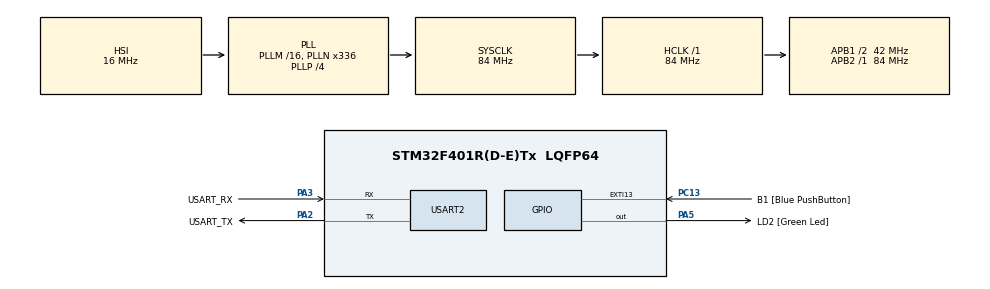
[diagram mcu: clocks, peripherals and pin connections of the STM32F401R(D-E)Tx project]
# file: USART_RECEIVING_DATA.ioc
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Mcu.Family=STM32F4
PC15-OSC32_OUT.Mode=LSE-External-Oscillator
PA2.GPIO_PuPd=GPIO_NOPULL
RCC.CortexFreq_Value=84000000
PC13-ANTI_TAMP.GPIO_PuPd=GPIO_NOPULL
PC13-ANTI_TAMP.GPIO_Label=B1 [Blue PushButton]
PA14.GPIO_Label=TCK
PA3.GPIO_PuPd=GPIO_NOPULL
PH1\ -\ OSC_OUT.Mode=HSE-External-Oscillator
PA2.GPIO_Speed=GPIO_SPEED_FREQ_LOW
RCC.APB1CLKDivider=RCC_HCLK_DIV2
PC14-OSC32_IN.Signal=RCC_OSC32_IN
PA3.GPIO_Speed=GPIO_SPEED_FREQ_LOW
RCC.SYSCLKSource=RCC_SYSCLKSOURCE_PLLCLK
ProjectManager.StackSize=0x400
PA13.Signal=SYS_JTMS-SWDIO
PA3.Mode=Asynchronous
PH0\ -\ OSC_IN.Mode=HSE-External-Oscillator
PH0\ -\ OSC_IN.Signal=RCC_OSC_IN
ProjectManager.TargetToolchain=SW4STM32
PA3.GPIO_Mode=GPIO_MODE_AF_PP
RCC.HCLKFreq_Value=84000000
RCC.APB2TimFreq_Value=84000000
PC15-OSC32_OUT.Signal=RCC_OSC32_OUT
RCC.AHBFreq_Value=84000000
PA5.Signal=GPIO_Output
RCC.HSE_VALUE=8000000
PH1\ -\ OSC_OUT.Signal=RCC_OSC_OUT
board=NUCLEO-F401RE
PC13-ANTI_TAMP.Signal=GPXTI13
RCC.VCOOutputFreq_Value=336000000
RCC.APB2Freq_Value=84000000
PC14-OSC32_IN.Mode=LSE-External-Oscillator
PA14.Mode=Serial_Wire
PA5.GPIO_PuPd=GPIO_NOPULL
PA13.Mode=Serial_Wire
Mcu.Name=STM32F401R(D-E)Tx
PA2.Signal=USART2_TX
PA13.GPIO_Label=TMS
RCC.48MHZClocksFreq_Value=48000000
PB3.Signal=SYS_JTDO-SWO
RCC.SYSCLKFreq_VALUE=84000000
Mcu.Package=LQFP64
PA5.GPIO_Label=LD2 [Green Led]
USART2.VirtualMode=VM_ASYNC
PC13-ANTI_TAMP.GPIO_ModeDefaultEXTI=GPIO_MODE_IT_FALLING
PA2.GPIO_Label=USART_TX
PA14.Signal=SYS_JTCK-SWCLK
ProjectManager.HeapSize=0x200
RCC.HSI_VALUE=16000000
RCC.PLLP=RCC_PLLP_DIV4
PA5.GPIO_Speed=GPIO_SPEED_FREQ_LOW
RCC.PLLQ=7
NVIC.PriorityGroup=NVIC_PRIORITYGROUP_0
RCC.PLLN=336
RCC.APB1TimFreq_Value=84000000
PA2.Mode=Asynchronous
RCC.APB1Freq_Value=42000000
PA5.GPIO_Mode=GPIO_MODE_OUTPUT_PP
PA3.GPIO_Label=USART_RX
PA3.Signal=USART2_RX
PA2.GPIO_Mode=GPIO_MODE_AF_PP
PB3.GPIO_Label=SWO

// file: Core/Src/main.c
/* USER CODE BEGIN Header */
/**
  ******************************************************************************
  * @file           : main.c
  * @brief          : Main program body
  ******************************************************************************
  * @attention
  *
  * <h2><center>&copy; Copyright (c) 2020 STMicroelectronics.
  * All rights reserved.</center></h2>
  *
  * This software component is licensed by ST under BSD 3-Clause license,
  * the "License"; You may not use this file except in compliance with the
  * License. You may obtain a copy of the License at:
  *                        opensource.org/licenses/BSD-3-Clause
  *
  ******************************************************************************
  */
/* USER CODE END Header */
#include "main.h"

UART_HandleTypeDef huart2;

void SystemClock_Config(void);
static void MX_GPIO_Init(void);
static void MX_USART2_UART_Init(void);

/* USER CODE BEGIN 0 */

void USART_Init(void)
{
  RCC->AHB1ENR |= RCC_AHB1ENR_GPIOAEN;   // Enable GPIOA  Clock
  RCC->APB1ENR |= RCC_APB1ENR_USART2EN;  // Enable USART2 Clock

  // Configure PA3 as USART RX
  GPIOA->MODER  |= 0x0080; // Enable AF at PA3
  GPIOA->AFR[0] |= 0x7000; // GPIO_AF7_USART2;  //AF7 for USART2

  USART2->BRR  = 0x1117;         // 9600 bps @42Mhz
  USART2->CR1 = USART_CR1_RE;   // Enable the RECEIVER [RX]
  USART2->CR1 |= USART_CR1_UE;   // Enable the USART
}

char USART_Read(void)
{
  while(!(USART2->SR & USART_SR_RXNE )) {}
  return USART2->DR;
}

void LED_play(int value)
{
  value %= 16;
  for(;value>0; value--)
  {
	  GPIOA->BSRR = 0x20; //Turn on the led
	  HAL_Delay(100);
	  GPIOA->BSRR = 0x00200000; // Turn off the led
	  HAL_Delay(100);
  }
  HAL_Delay(400);
}

/* USER CODE END 0 */

int main(void)
{

  /* MCU Configuration--------------------------------------------------------*/

  /* Reset of all peripherals, Initializes the Flash interface and the Systick. */
  HAL_Init();

  /* Configure the system clock */
  SystemClock_Config();

  /* Initialize all configured peripherals */
  MX_GPIO_Init();
  MX_USART2_UART_Init();
  /* USER CODE BEGIN 2 */

  //RCC->AHB1ENR |=1;
  //GPIOA->MODER |= 0x400;
  USART_Init();
  char ch;

  /* USER CODE END 2 */

  /* Infinite loop */
  while (1)
  {

	  ch = USART_Read();
	  LED_play(ch);

  }
}

void SystemClock_Config(void)
{
  RCC_OscInitTypeDef RCC_OscInitStruct = {0};
  RCC_ClkInitTypeDef RCC_ClkInitStruct = {0};

  /** Configure the main internal regulator output voltage
  */
  __HAL_RCC_PWR_CLK_ENABLE();
  __HAL_PWR_VOLTAGESCALING_CONFIG(PWR_REGULATOR_VOLTAGE_SCALE2);
  /** Initializes the RCC Oscillators according to the specified parameters
  * in the RCC_OscInitTypeDef structure.
  */
  RCC_OscInitStruct.OscillatorType = RCC_OSCILLATORTYPE_HSI;
  RCC_OscInitStruct.HSIState = RCC_HSI_ON;
  RCC_OscInitStruct.HSICalibrationValue = RCC_HSICALIBRATION_DEFAULT;
  RCC_OscInitStruct.PLL.PLLState = RCC_PLL_ON;
  RCC_OscInitStruct.PLL.PLLSource = RCC_PLLSOURCE_HSI;
  RCC_OscInitStruct.PLL.PLLM = 16;
  RCC_OscInitStruct.PLL.PLLN = 336;
  RCC_OscInitStruct.PLL.PLLP = RCC_PLLP_DIV4;
  RCC_OscInitStruct.PLL.PLLQ = 7;
  if (HAL_RCC_OscConfig(&RCC_OscInitStruct) != HAL_OK)
  {
    Error_Handler();
  }
  /** Initializes the CPU, AHB and APB buses clocks
  */
  RCC_ClkInitStruct.ClockType = RCC_CLOCKTYPE_HCLK|RCC_CLOCKTYPE_SYSCLK
                              |RCC_CLOCKTYPE_PCLK1|RCC_CLOCKTYPE_PCLK2;
  RCC_ClkInitStruct.SYSCLKSource = RCC_SYSCLKSOURCE_PLLCLK;
  RCC_ClkInitStruct.AHBCLKDivider = RCC_SYSCLK_DIV1;
  RCC_ClkInitStruct.APB1CLKDivider = RCC_HCLK_DIV2;
  RCC_ClkInitStruct.APB2CLKDivider = RCC_HCLK_DIV1;

  if (HAL_RCC_ClockConfig(&RCC_ClkInitStruct, FLASH_LATENCY_2) != HAL_OK)
  {
    Error_Handler();
  }
}

static void MX_USART2_UART_Init(void)
{

  huart2.Instance = USART2;
  huart2.Init.BaudRate = 115200;
  huart2.Init.WordLength = UART_WORDLENGTH_8B;
  huart2.Init.StopBits = UART_STOPBITS_1;
  huart2.Init.Parity = UART_PARITY_NONE;
  huart2.Init.Mode = UART_MODE_TX_RX;
  huart2.Init.HwFlowCtl = UART_HWCONTROL_NONE;
  huart2.Init.OverSampling = UART_OVERSAMPLING_16;
  if (HAL_UART_Init(&huart2) != HAL_OK)
  {
    Error_Handler();
  }

}

static void MX_GPIO_Init(void)
{
  GPIO_InitTypeDef GPIO_InitStruct = {0};

  /* GPIO Ports Clock Enable */
  __HAL_RCC_GPIOC_CLK_ENABLE();
  __HAL_RCC_GPIOH_CLK_ENABLE();
  __HAL_RCC_GPIOA_CLK_ENABLE();
  __HAL_RCC_GPIOB_CLK_ENABLE();

  /*Configure GPIO pin Output Level */
  HAL_GPIO_WritePin(LD2_GPIO_Port, LD2_Pin, GPIO_PIN_RESET);

  /*Configure GPIO pin : B1_Pin */
  GPIO_InitStruct.Pin = B1_Pin;
  GPIO_InitStruct.Mode = GPIO_MODE_IT_FALLING;
  GPIO_InitStruct.Pull = GPIO_NOPULL;
  HAL_GPIO_Init(B1_GPIO_Port, &GPIO_InitStruct);

  /*Configure GPIO pin : LD2_Pin */
  GPIO_InitStruct.Pin = LD2_Pin;
  GPIO_InitStruct.Mode = GPIO_MODE_OUTPUT_PP;
  GPIO_InitStruct.Pull = GPIO_NOPULL;
  GPIO_InitStruct.Speed = GPIO_SPEED_FREQ_LOW;
  HAL_GPIO_Init(LD2_GPIO_Port, &GPIO_InitStruct);

}

void Error_Handler(void)
{
}

/************************ (C) COPYRIGHT STMicroelectronics *****END OF FILE****/
